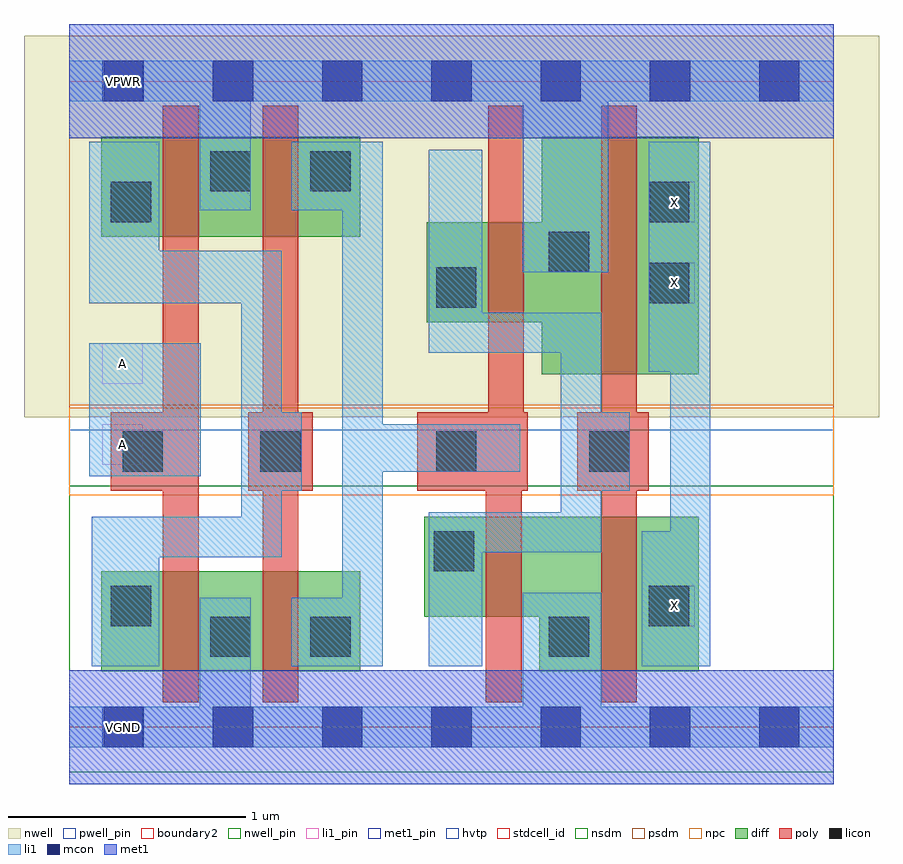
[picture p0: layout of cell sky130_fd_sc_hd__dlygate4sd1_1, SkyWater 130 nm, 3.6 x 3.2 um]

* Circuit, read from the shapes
.subckt sky130_fd_sc_hd__dlygate4sd1_1 A VGND VNB VPB VPWR X
XM1 VGND A n1 VNB sky130_fd_pr__nfet_01v8 w=0.42 l=0.15
XM2 n2 n1 VGND VNB sky130_fd_pr__nfet_01v8 w=0.42 l=0.15
XM3 VGND n2 n3 VNB sky130_fd_pr__nfet_01v8 w=0.42 l=0.15
XM4 X n3 VGND VNB sky130_fd_pr__nfet_01v8 w=0.65 l=0.15
XM5 VPWR A n1 VPB sky130_fd_pr__pfet_01v8_hvt w=0.42 l=0.15
XM6 n2 n1 VPWR VPB sky130_fd_pr__pfet_01v8_hvt w=0.42 l=0.15
XM7 VPWR n2 n3 VPB sky130_fd_pr__pfet_01v8_hvt w=0.42 l=0.15
XM8 X n3 VPWR VPB sky130_fd_pr__pfet_01v8_hvt w=1 l=0.15
.ends

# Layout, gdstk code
import gdstk
lib = gdstk.Library(unit=1e-6, precision=1e-09)
def R(c, l, rs):  # rectangles x0, y0, x1, y1
    for r in rs: c.add(gdstk.rectangle(r[:2], r[2:], *l))
def A(c, l, x, y, w, h, nx, ny, dx, dy):  # array of equal rectangles
    R(c, l, [(x+i*dx, y+j*dy, x+i*dx+w, y+j*dy+h) for i in range(nx) for j in range(ny)])
def P(c, l, *ps):  # polygons
    for p in ps: c.add(gdstk.Polygon(p, *l))
nwell_pin = (64, 16)
nwell = (64, 20)
diff = (65, 20)
poly = (66, 20)
licon = (66, 44)
li1_pin = (67, 16)
li1 = (67, 20)
mcon = (67, 44)
met1_pin = (68, 16)
met1 = (68, 20)
hvtp = (78, 44)
stdcell_id = (81, 4)
nsdm = (93, 44)
psdm = (94, 20)
npc = (95, 20)
pwell_pin = (122, 16)
boundary2 = (236, 0)

sky130_fd_sc_hd__dlygate = lib.new_cell('sky130_fd_sc_hd__dlygate4sd1_1')
R(sky130_fd_sc_hd__dlygate, nwell_pin, [(0.14,2.635,0.31,2.805)])
R(sky130_fd_sc_hd__dlygate, nwell, [(-0.19,1.305,3.41,2.91)])
R(sky130_fd_sc_hd__dlygate, diff, [(0.135,0.235,1.225,0.655), (0.135,2.065,1.225,2.485)])
P(sky130_fd_sc_hd__dlygate, diff, [(2.65,2.485),(1.99,2.485),(1.99,2.125),(1.505,2.125),(1.505,1.705),(1.99,1.705),(1.99,1.485),(2.65,1.485)],
  [(2.65,0.885),(1.495,0.885),(1.495,0.465),(1.98,0.465),(1.98,0.235),(2.65,0.235)])
P(sky130_fd_sc_hd__dlygate, poly, [(0.545,2.615),(0.395,2.615),(0.395,1.325),(0.175,1.325),(0.175,0.995),(0.395,0.995),(0.395,0.105),(0.545,0.105)],
  [(1.025,1.325),(0.965,1.325),(0.965,2.615),(0.815,2.615),(0.815,1.325),(0.755,1.325),(0.755,0.995),(0.815,0.995),(0.815,0.105),(0.965,0.105),(0.965,0.995),(1.025,0.995)],
  [(1.93,1.325),(1.915,1.325),(1.915,2.615),(1.765,2.615),(1.765,1.325),(1.465,1.325),(1.465,0.995),(1.755,0.995),(1.755,0.105),(1.905,0.105),(1.905,0.995),(1.93,0.995)],
  [(2.44,1.325),(2.39,1.325),(2.39,2.615),(2.24,2.615),(2.24,1.325),(2.14,1.325),(2.14,0.995),(2.24,0.995),(2.24,0.105),(2.39,0.105),(2.39,0.995),(2.44,0.995)])
R(sky130_fd_sc_hd__dlygate, licon, [(0.595,0.295,0.765,0.465), (1.015,0.295,1.185,0.465), (2.02,0.295,2.19,0.465), (0.175,0.425,0.345,0.595), (2.44,0.425,2.61,0.595), (1.535,0.655,1.705,0.825), (0.225,1.075,0.395,1.245), (0.805,1.075,0.975,1.245), (1.545,1.075,1.715,1.245), (2.19,1.075,2.36,1.245), (1.545,1.765,1.715,1.935), (2.44,1.785,2.61,1.955), (2.02,1.915,2.19,2.085), (0.175,2.125,0.345,2.295), (2.44,2.125,2.61,2.295), (0.595,2.255,0.765,2.425), (1.015,2.255,1.185,2.425)])
R(sky130_fd_sc_hd__dlygate, li1_pin, [(2.465,0.425,2.635,0.595), (0.14,1.105,0.31,1.275), (0.14,1.445,0.31,1.615), (2.465,1.785,2.635,1.955), (2.465,2.125,2.635,2.295)])
R(sky130_fd_sc_hd__dlygate, li1, [(0.085,1.055,0.555,1.615)])
P(sky130_fd_sc_hd__dlygate, li1, [(0.98,1.325),(0.895,1.325),(0.895,2.005),(0.38,2.005),(0.38,2.465),(0.085,2.465),(0.085,1.785),(0.725,1.785),(0.725,0.885),(0.095,0.885),(0.095,0.255),(0.38,0.255),(0.38,0.715),(0.895,0.715),(0.895,0.995),(0.98,0.995)],
  [(1.9,1.275),(1.32,1.275),(1.32,2.465),(0.935,2.465),(0.935,2.175),(1.15,2.175),(1.15,0.545),(0.935,0.545),(0.935,0.255),(1.32,0.255),(1.32,1.075),(1.9,1.075)],
  [(2.36,1.325),(2.24,1.325),(2.24,1.745),(1.74,1.745),(1.74,2.43),(1.515,2.43),(1.515,1.575),(2.07,1.575),(2.07,0.905),(1.515,0.905),(1.515,0.255),(1.74,0.255),(1.74,0.735),(2.24,0.735),(2.24,0.995),(2.36,0.995)],
  [(2.7,2.465),(2.44,2.465),(2.44,1.495),(2.53,1.495),(2.53,0.825),(2.41,0.825),(2.41,0.255),(2.7,0.255)],
  [(3.22,2.805),(0,2.805),(0,2.635),(0.55,2.635),(0.55,2.175),(0.765,2.175),(0.765,2.635),(1.91,2.635),(1.91,1.915),(2.27,1.915),(2.27,2.635),(3.22,2.635)],
  [(3.22,0.085),(2.24,0.085),(2.24,0.565),(1.91,0.565),(1.91,0.085),(0.765,0.085),(0.765,0.545),(0.55,0.545),(0.55,0.085),(0,0.085),(0,-0.085),(3.22,-0.085)])
A(sky130_fd_sc_hd__dlygate, mcon, 0.145, -0.085, 0.17, 0.17, 7, 2, 0.46, 2.72)
R(sky130_fd_sc_hd__dlygate, met1_pin, [(0.14,-0.085,0.31,0.085), (0.14,2.635,0.31,2.805)])
R(sky130_fd_sc_hd__dlygate, hvtp, [(0,1.25,3.22,2.72)])
R(sky130_fd_sc_hd__dlygate, stdcell_id, [(0,0,3.22,2.72)])
R(sky130_fd_sc_hd__dlygate, nsdm, [(0,-0.19,3.22,1.015)])
R(sky130_fd_sc_hd__dlygate, psdm, [(0,1.355,3.22,2.91)])
R(sky130_fd_sc_hd__dlygate, npc, [(0,0.975,3.22,1.345)])
R(sky130_fd_sc_hd__dlygate, pwell_pin, [(0.14,-0.085,0.31,0.085)])
R(sky130_fd_sc_hd__dlygate, boundary2, [(0,0,3.22,2.72)])
sky130_fd_sc_hd__dlygate.add(gdstk.FlexPath([(0,0),(3.22,0)], 0.48, ends="flush", simple_path=True, layer=68, datatype=20))  # met1
sky130_fd_sc_hd__dlygate.add(gdstk.FlexPath([(0,2.72),(3.22,2.72)], 0.48, ends="flush", simple_path=True, layer=68, datatype=20))  # met1
sky130_fd_sc_hd__dlygate.add(gdstk.Label('A', (0.225,1.53), layer=67, texttype=5))
sky130_fd_sc_hd__dlygate.add(gdstk.Label('X', (2.55,2.21), layer=67, texttype=5))
sky130_fd_sc_hd__dlygate.add(gdstk.Label('X', (2.55,1.87), layer=67, texttype=5))
sky130_fd_sc_hd__dlygate.add(gdstk.Label('X', (2.55,0.51), layer=67, texttype=5))
sky130_fd_sc_hd__dlygate.add(gdstk.Label('A', (0.225,1.19), layer=67, texttype=5))
sky130_fd_sc_hd__dlygate.add(gdstk.Label('VPWR', (0.23,2.72), layer=68, texttype=5))
sky130_fd_sc_hd__dlygate.add(gdstk.Label('VGND', (0.23,0), layer=68, texttype=5))
sky130_fd_sc_hd__dlygate.add(gdstk.Label('VPB', (0.225,2.72), layer=64, texttype=5))
sky130_fd_sc_hd__dlygate.add(gdstk.Label('VNB', (0.225,0), layer=64, texttype=59))
sky130_fd_sc_hd__dlygate.add(gdstk.Label('dlygate4sd1_1', (0,0), layer=83, texttype=44))

lib.write_gds('sky130_fd_sc_hd__dlygate4sd1_1.gds')
